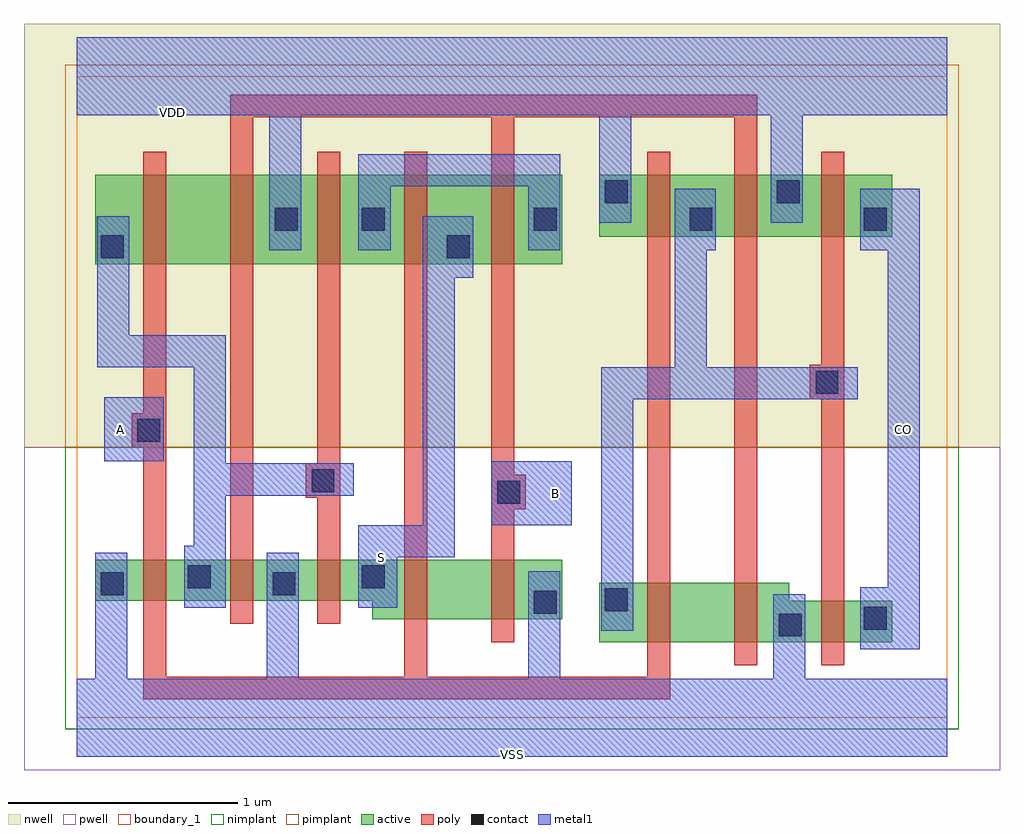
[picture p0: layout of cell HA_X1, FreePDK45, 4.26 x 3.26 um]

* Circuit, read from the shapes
.subckt HA_X1 A B CO S VDD VSS
M1 n1 A VSS VSUBS nfet w=0.18u l=0.1u
M2 VSS B n1 VSUBS nfet w=0.18u l=0.1u
M3 S n1 VSS VSUBS nfet w=0.18u l=0.1u
M4 n2 A S VSUBS nfet w=0.26u l=0.1u
M5 VSS B n2 VSUBS nfet w=0.26u l=0.1u
M6 n3 A n4 VSUBS nfet w=0.26u l=0.1u
M7 VSS B n3 VSUBS nfet w=0.26u l=0.1u
M8 CO n4 VSS VSUBS nfet w=0.18u l=0.1u
M9 n5 A n1 n6 pfet w=0.39u l=0.1u
M10 VDD B n5 n6 pfet w=0.39u l=0.1u
M11 n7 n1 VDD n6 pfet w=0.39u l=0.1u
M12 S A n7 n6 pfet w=0.39u l=0.1u
M13 n7 B S n6 pfet w=0.39u l=0.1u
M14 n4 A VDD n6 pfet w=0.27u l=0.1u
M15 VDD B n4 n6 pfet w=0.27u l=0.1u
M16 CO n4 VDD n6 pfet w=0.27u l=0.1u
.ends

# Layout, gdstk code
import gdstk
lib = gdstk.Library(unit=1e-6, precision=1e-09)
def R(c, l, rs):  # rectangles x0, y0, x1, y1
    for r in rs: c.add(gdstk.rectangle(r[:2], r[2:], *l))
def P(c, l, *ps):  # polygons
    for p in ps: c.add(gdstk.Polygon(p, *l))
active = (1, 0)
pwell = (2, 0)
nwell = (3, 0)
nimplant = (4, 0)
pimplant = (5, 0)
poly = (9, 0)
contact = (10, 0)
metal1 = (11, 0)
boundary_1 = (235, 1)

ha_x1 = lib.new_cell('HA_X1')
R(ha_x1, active, [(0.08,1.98,2.12,2.37), (2.28,2.1,3.56,2.37)])
P(ha_x1, active, [(2.28,0.33),(3.56,0.33),(3.56,0.51),(3.11,0.51),(3.11,0.59),(2.28,0.59)],
  [(0.08,0.51),(1.29,0.51),(1.29,0.43),(2.12,0.43),(2.12,0.69),(0.08,0.69)])
R(ha_x1, pwell, [(-0.23,-0.23,4.03,1.18)])
R(ha_x1, nwell, [(-0.23,1.18,4.03,3.03)])
R(ha_x1, nimplant, [(-0.05,-0.05,3.85,1.18)])
R(ha_x1, pimplant, [(-0.05,1.18,3.85,2.85)])
P(ha_x1, poly, [(3.2,1.39),(3.25,1.39),(3.25,0.23),(3.35,0.23),(3.35,2.47),(3.25,2.47),(3.25,1.54),(3.2,1.54)],
  [(1.91,2.62),(2.87,2.62),(2.87,0.23),(2.97,0.23),(2.97,2.72),(0.67,2.72),(0.67,0.41),(0.77,0.41),(0.77,2.62),(1.81,2.62),(1.81,0.33),(1.91,0.33),(1.91,0.91),(1.96,0.91),(1.96,1.06),(1.91,1.06)],
  [(0.24,1.18),(0.29,1.18),(0.29,0.08),(2.59,0.08),(2.59,2.47),(2.49,2.47),(2.49,0.18),(1.53,0.18),(1.53,2.47),(1.43,2.47),(1.43,0.18),(0.39,0.18),(0.39,2.47),(0.29,2.47),(0.29,1.33),(0.24,1.33)],
  [(1,0.96),(1.05,0.96),(1.05,0.41),(1.15,0.41),(1.15,2.47),(1.05,2.47),(1.05,1.11),(1,1.11)])
R(ha_x1, contact, [(3.065,0.355,3.165,0.455), (3.435,0.385,3.535,0.485), (1.995,0.455,2.095,0.555), (2.305,0.465,2.405,0.565), (0.105,0.535,0.205,0.635), (0.855,0.535,0.955,0.635), (0.485,0.565,0.585,0.665), (1.245,0.565,1.345,0.665), (1.835,0.935,1.935,1.035), (1.025,0.985,1.125,1.085), (0.265,1.205,0.365,1.305), (3.225,1.415,3.325,1.515), (0.105,2.005,0.205,2.105), (1.615,2.005,1.715,2.105), (0.865,2.125,0.965,2.225), (1.245,2.125,1.345,2.225), (1.995,2.125,2.095,2.225), (2.675,2.125,2.775,2.225), (3.435,2.125,3.535,2.225), (2.305,2.245,2.405,2.345), (3.055,2.245,3.155,2.345)])
R(ha_x1, metal1, [(1.81,0.84,2.16,1.12), (1.81,0.84,2.16,1.12), (0.12,1.12,0.38,1.4), (0.12,1.12,0.38,1.4)])
P(ha_x1, metal1, [(0,-0.17),(3.8,-0.17),(3.8,0.17),(3.18,0.17),(3.18,0.54),(3.04,0.54),(3.04,0.17),(2.11,0.17),(2.11,0.64),(1.97,0.64),(1.97,0.17),(0.97,0.17),(0.97,0.72),(0.83,0.72),(0.83,0.17),(0.22,0.17),(0.22,0.72),(0.08,0.72),(0.08,0.17),(0,0.17)],
  [(3.42,2.04),(3.54,2.04),(3.54,0.57),(3.42,0.57),(3.42,0.3),(3.68,0.3),(3.68,2.31),(3.42,2.31)],
  [(0,2.63),(0.84,2.63),(0.84,2.04),(0.98,2.04),(0.98,2.63),(2.28,2.63),(2.28,2.16),(2.42,2.16),(2.42,2.63),(3.03,2.63),(3.03,2.16),(3.17,2.16),(3.17,2.63),(3.8,2.63),(3.8,2.97),(0,2.97)],
  [(1.23,0.48),(1.4,0.48),(1.4,0.7),(1.65,0.7),(1.65,1.92),(1.73,1.92),(1.73,2.19),(1.51,2.19),(1.51,0.84),(1.23,0.84)],
  [(0,2.63),(0.84,2.63),(0.84,2.04),(0.98,2.04),(0.98,2.63),(2.28,2.63),(2.28,2.16),(2.42,2.16),(2.42,2.63),(3.03,2.63),(3.03,2.16),(3.17,2.16),(3.17,2.63),(3.8,2.63),(3.8,2.97),(0,2.97)],
  [(0,-0.17),(3.8,-0.17),(3.8,0.17),(3.18,0.17),(3.18,0.54),(3.04,0.54),(3.04,0.17),(2.11,0.17),(2.11,0.64),(1.97,0.64),(1.97,0.17),(0.97,0.17),(0.97,0.72),(0.83,0.72),(0.83,0.17),(0.22,0.17),(0.22,0.72),(0.08,0.72),(0.08,0.17),(0,0.17)],
  [(3.42,2.04),(3.54,2.04),(3.54,0.57),(3.42,0.57),(3.42,0.3),(3.68,0.3),(3.68,2.31),(3.42,2.31)],
  [(2.29,0.38),(2.43,0.38),(2.43,1.39),(3.41,1.39),(3.41,1.53),(2.75,1.53),(2.75,2.04),(2.79,2.04),(2.79,2.31),(2.61,2.31),(2.61,1.53),(2.29,1.53)],
  [(1.23,2.04),(1.37,2.04),(1.37,2.32),(1.97,2.32),(1.97,2.04),(2.11,2.04),(2.11,2.46),(1.23,2.46)],
  [(1.23,0.48),(1.4,0.48),(1.4,0.7),(1.65,0.7),(1.65,1.92),(1.73,1.92),(1.73,2.19),(1.51,2.19),(1.51,0.84),(1.23,0.84)],
  [(0.09,1.53),(0.51,1.53),(0.51,0.75),(0.47,0.75),(0.47,0.48),(0.65,0.48),(0.65,0.97),(1.21,0.97),(1.21,1.11),(0.65,1.11),(0.65,1.67),(0.23,1.67),(0.23,2.19),(0.09,2.19)])
R(ha_x1, boundary_1, [(0,0,3.8,2.8)])
ha_x1.add(gdstk.Label('VSS', (1.9,-0.16), layer=11, texttype=0))
ha_x1.add(gdstk.Label('VDD', (0.42,2.64), layer=11, texttype=0))
ha_x1.add(gdstk.Label('S', (1.33,0.7), layer=11, texttype=0))
ha_x1.add(gdstk.Label('CO', (3.61,1.26), layer=11, texttype=0))
ha_x1.add(gdstk.Label('B', (2.09,0.98), layer=11, texttype=0))
ha_x1.add(gdstk.Label('A', (0.19,1.26), layer=11, texttype=0))

lib.write_gds('HA_X1.gds')
